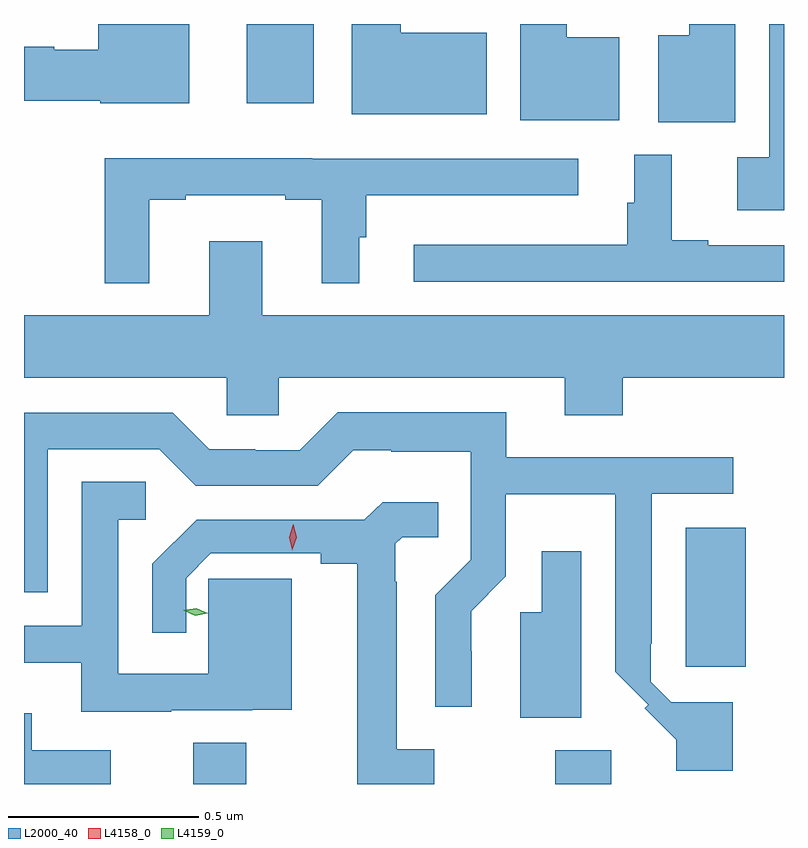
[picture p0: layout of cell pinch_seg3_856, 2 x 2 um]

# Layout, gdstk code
import gdstk
lib = gdstk.Library(unit=1e-6, precision=1e-09)
def R(c, l, rs):  # rectangles x0, y0, x1, y1
    for r in rs: c.add(gdstk.rectangle(r[:2], r[2:], *l))
def P(c, l, *ps):  # polygons
    for p in ps: c.add(gdstk.Polygon(p, *l))
L2000_40 = (2000, 40)
L4158_0 = (4158, 0)
L4159_0 = (4159, 0)

pinch_seg3_856 = lib.new_cell('pinch_seg3_856')
R(pinch_seg3_856, L2000_40, [(676.211,707.839,676.351,707.948), (677.164,707.839,677.311,707.928), (677.507,708.147,677.665,708.514), (676.352,709.631,676.528,709.839)])
P(pinch_seg3_856, L2000_40, [(676.984,709.816),(676.758,709.816),(676.758,709.839),(676.628,709.839),(676.628,709.601),(676.984,709.601)],
  [(677.638,709.839),(677.516,709.839),(677.516,709.81),(677.435,709.81),(677.435,709.58),(677.638,709.58)],
  [(677.766,709.839),(677.727,709.839),(677.727,709.489),(677.643,709.489),(677.643,709.349),(677.766,709.349)],
  [(677.332,709.804),(677.194,709.804),(677.194,709.839),(677.072,709.839),(677.072,709.586),(677.332,709.586)],
  [(676.201,709.839),(675.962,709.839),(675.962,709.771),(675.846,709.771),(675.846,709.779),(675.766,709.779),(675.766,709.637),(675.966,709.637),(675.966,709.631),(676.201,709.631)],
  [(677.766,709.257),(677.566,709.257),(677.566,709.27),(677.47,709.27),(677.47,709.495),(677.372,709.495),(677.372,709.368),(677.353,709.368),(677.353,709.258),(676.791,709.258),(676.791,709.161),(677.766,709.161)],
  [(676.096,709.377),(676.192,709.377),(676.192,709.389),(676.454,709.389),(676.454,709.377),(676.55,709.377),(676.55,709.157),(676.648,709.157),(676.648,709.278),(676.667,709.278),(676.667,709.388),(677.224,709.388),(677.224,709.485),(676.524,709.485),(676.524,709.486),(675.979,709.486),(675.979,709.157),(676.096,709.157)],
  [(677.342,708.908),(677.766,708.908),(677.766,709.072),(676.393,709.072),(676.393,709.267),(676.253,709.267),(676.253,709.072),(675.766,709.072),(675.766,708.908),(676.299,708.908),(676.299,708.81),(676.437,708.81),(676.437,708.908),(677.189,708.908),(677.189,708.809),(677.342,708.809)],
  [(677.631,708.054),(677.469,708.054),(677.415,708.108),(677.415,708.208),(677.418,708.208),(677.418,708.603),(677.632,708.603),(677.632,708.699),(677.035,708.699),(677.035,708.817),(676.591,708.817),(676.491,708.717),(676.374,708.717),(676.374,708.72),(676.254,708.72),(676.158,708.816),(675.766,708.816),(675.766,708.344),(675.828,708.344),(675.828,708.72),(676.122,708.72),(676.218,708.624),(676.539,708.624),(676.632,708.717),(676.732,708.717),(676.732,708.713),(676.941,708.713),(676.941,708.429),(676.848,708.336),(676.848,708.042),(676.944,708.042),(676.944,708.188),(676.943,708.188),(676.943,708.294),(677.034,708.386),(677.034,708.602),(677.322,708.602),(677.322,708.134),(677.409,708.048),(677.399,708.038),(677.483,707.955),(677.483,707.874),(677.631,707.874)],
  [(676.153,708.033),(676.367,708.033),(676.367,708.035),(676.471,708.035),(676.471,708.379),(676.251,708.379),(676.251,708.129),(676.014,708.129),(676.014,708.534),(676.087,708.534),(676.087,708.635),(675.918,708.635),(675.918,708.255),(675.766,708.255),(675.766,708.158),(675.917,708.158),(675.917,708.029),(676.153,708.029)],
  [(676.846,707.931),(676.747,707.931),(676.747,708.371),(676.743,708.371),(676.743,708.471),(676.761,708.489),(676.856,708.489),(676.856,708.581),(676.71,708.581),(676.662,708.534),(676.22,708.534),(676.104,708.418),(676.104,708.237),(676.193,708.237),(676.193,708.38),(676.258,708.446),(676.547,708.446),(676.547,708.418),(676.643,708.418),(676.643,707.839),(676.846,707.839)],
  [(677.233,708.451),(677.129,708.451),(677.129,708.291),(677.072,708.291),(677.072,708.013),(677.233,708.013)],
  [(675.994,707.928),(675.787,707.928),(675.787,708.025),(675.766,708.025),(675.766,707.839),(675.994,707.839)])
P(pinch_seg3_856, L4158_0, [(676.472,708.454),(676.472,708.455),(676.464,708.489),(676.475,708.523),(676.475,708.523),(676.475,708.523),(676.484,708.488),(676.472,708.455)])
P(pinch_seg3_856, L4159_0, [(676.216,708.282),(676.185,708.296),(676.185,708.296),(676.185,708.296),(676.219,708.302),(676.25,708.288),(676.25,708.288),(676.25,708.288)])

lib.write_gds('pinch_seg3_856.gds')
